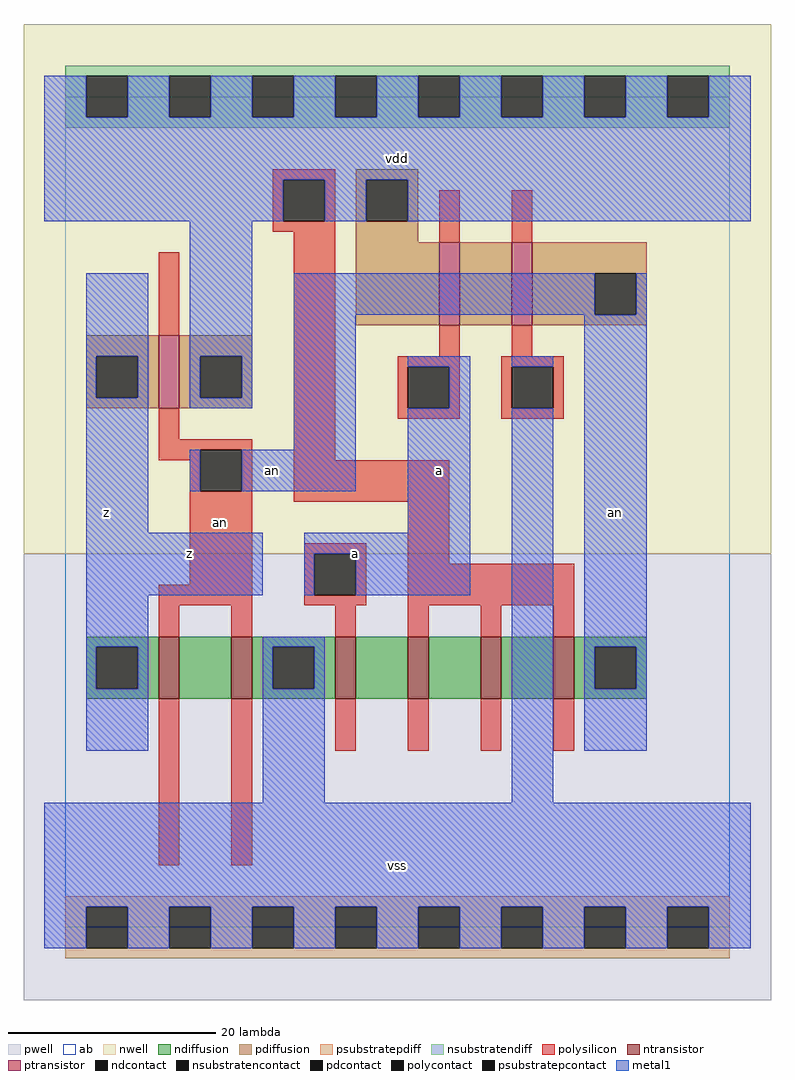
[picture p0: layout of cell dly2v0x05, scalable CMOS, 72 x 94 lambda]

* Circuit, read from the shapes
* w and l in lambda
.subckt dly2v0x05 a an vdd vss z
M1 n1 an z vss nfet w=6 l=2
M2 vss an n1 vss nfet w=6 l=2
M3 n2 a vss vss nfet w=6 l=2
M4 n3 vdd n2 vss nfet w=6 l=2
M5 n4 vdd n3 vss nfet w=6 l=2
M6 an vdd n4 vss nfet w=6 l=2
M7 vdd an z vdd pfet w=7 l=2
M8 n5 a vdd vdd pfet w=8 l=2
M9 an vss n5 vdd pfet w=8 l=2
.ends

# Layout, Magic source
magic
tech scmos
<< ab >>
rect 0 0 64 80
<< pwell >>
rect -4 -7 68 36
<< nwell >>
rect -4 36 68 87
<< polysilicon >>
rect 20 72 26 73
rect 20 68 21 72
rect 25 68 26 72
rect 20 67 26 68
rect 9 57 11 65
rect 9 47 11 50
rect 9 46 18 47
rect 9 45 13 46
rect 12 42 13 45
rect 17 42 18 46
rect 12 33 18 42
rect 22 45 26 67
rect 36 66 38 71
rect 43 66 45 71
rect 36 55 38 58
rect 43 55 45 58
rect 32 54 38 55
rect 32 50 33 54
rect 37 50 38 54
rect 32 49 38 50
rect 42 54 48 55
rect 42 50 43 54
rect 47 50 48 54
rect 42 49 48 50
rect 22 41 37 45
rect 9 31 18 33
rect 23 36 29 37
rect 23 32 24 36
rect 28 32 29 36
rect 23 31 29 32
rect 33 35 37 41
rect 33 31 49 35
rect 9 28 11 31
rect 16 28 18 31
rect 26 28 28 31
rect 33 28 35 31
rect 40 28 42 31
rect 47 28 49 31
rect 9 6 11 22
rect 16 6 18 22
rect 26 17 28 22
rect 33 17 35 22
rect 40 17 42 22
rect 47 17 49 22
<< ndiffusion >>
rect 2 27 9 28
rect 2 23 3 27
rect 7 23 9 27
rect 2 22 9 23
rect 11 22 16 28
rect 18 27 26 28
rect 18 23 20 27
rect 24 23 26 27
rect 18 22 26 23
rect 28 22 33 28
rect 35 22 40 28
rect 42 22 47 28
rect 49 27 56 28
rect 49 23 51 27
rect 55 23 56 27
rect 49 22 56 23
<< pdiffusion >>
rect 2 55 9 57
rect 2 51 3 55
rect 7 51 9 55
rect 2 50 9 51
rect 11 55 18 57
rect 11 51 13 55
rect 17 51 18 55
rect 11 50 18 51
rect 28 72 34 73
rect 28 68 29 72
rect 33 68 34 72
rect 28 66 34 68
rect 28 58 36 66
rect 38 58 43 66
rect 45 63 56 66
rect 45 59 51 63
rect 55 59 56 63
rect 45 58 56 59
<< metal1 >>
rect -2 78 2 82
rect 6 78 10 82
rect 14 78 18 82
rect 22 78 26 82
rect 30 78 34 82
rect 38 78 42 82
rect 46 78 50 82
rect 54 78 58 82
rect 62 78 66 82
rect -2 72 66 78
rect -2 68 21 72
rect 25 68 29 72
rect 33 68 66 72
rect 2 55 8 63
rect 2 51 3 55
rect 7 51 8 55
rect 2 38 8 51
rect 12 55 18 68
rect 12 51 13 55
rect 17 51 18 55
rect 12 50 18 51
rect 22 59 51 63
rect 55 59 56 63
rect 22 46 28 59
rect 12 42 13 46
rect 17 42 28 46
rect 33 54 39 55
rect 37 50 39 54
rect 33 38 39 50
rect 2 32 19 38
rect 23 36 39 38
rect 23 32 24 36
rect 28 32 39 36
rect 43 54 47 55
rect 2 27 8 32
rect 2 23 3 27
rect 7 23 8 27
rect 2 17 8 23
rect 19 27 25 28
rect 19 23 20 27
rect 24 23 25 27
rect 19 12 25 23
rect 43 12 47 50
rect 50 27 56 59
rect 50 23 51 27
rect 55 23 56 27
rect 50 17 56 23
rect -2 2 66 12
rect -2 -2 2 2
rect 6 -2 10 2
rect 14 -2 18 2
rect 22 -2 26 2
rect 30 -2 34 2
rect 38 -2 42 2
rect 46 -2 50 2
rect 54 -2 58 2
rect 62 -2 66 2
<< ntransistor >>
rect 9 22 11 28
rect 16 22 18 28
rect 26 22 28 28
rect 33 22 35 28
rect 40 22 42 28
rect 47 22 49 28
<< ptransistor >>
rect 9 50 11 57
rect 36 58 38 66
rect 43 58 45 66
<< polycontact >>
rect 21 68 25 72
rect 13 42 17 46
rect 33 50 37 54
rect 43 50 47 54
rect 24 32 28 36
<< ndcontact >>
rect 3 23 7 27
rect 20 23 24 27
rect 51 23 55 27
<< pdcontact >>
rect 3 51 7 55
rect 13 51 17 55
rect 29 68 33 72
rect 51 59 55 63
<< psubstratepcontact >>
rect 2 -2 6 2
rect 10 -2 14 2
rect 18 -2 22 2
rect 26 -2 30 2
rect 34 -2 38 2
rect 42 -2 46 2
rect 50 -2 54 2
rect 58 -2 62 2
<< nsubstratencontact >>
rect 2 78 6 82
rect 10 78 14 82
rect 18 78 22 82
rect 26 78 30 82
rect 34 78 38 82
rect 42 78 46 82
rect 50 78 54 82
rect 58 78 62 82
<< psubstratepdiff >>
rect 0 2 64 3
rect 0 -2 2 2
rect 6 -2 10 2
rect 14 -2 18 2
rect 22 -2 26 2
rect 30 -2 34 2
rect 38 -2 42 2
rect 46 -2 50 2
rect 54 -2 58 2
rect 62 -2 64 2
rect 0 -3 64 -2
<< nsubstratendiff >>
rect 0 82 64 83
rect 0 78 2 82
rect 6 78 10 82
rect 14 78 18 82
rect 22 78 26 82
rect 30 78 34 82
rect 38 78 42 82
rect 46 78 50 82
rect 54 78 58 82
rect 62 78 64 82
rect 0 77 64 78
<< labels >>
rlabel polysilicon 15 39 15 39 6 an
rlabel metal1 12 36 12 36 6 z
rlabel metal1 4 40 4 40 6 z
rlabel metal1 28 36 28 36 6 a
rlabel metal1 20 44 20 44 6 an
rlabel metal1 32 6 32 6 6 vss
rlabel metal1 36 44 36 44 6 a
rlabel metal1 32 74 32 74 6 vdd
rlabel metal1 53 40 53 40 6 an
<< end >>
